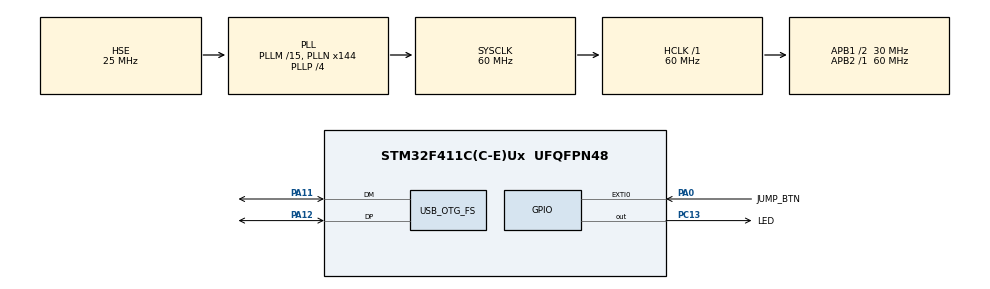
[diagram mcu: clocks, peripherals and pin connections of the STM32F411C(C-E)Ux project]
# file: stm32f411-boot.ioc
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Mcu.Family=STM32F4
Mcu.Name=STM32F411C(C-E)Ux
Mcu.Package=UFQFPN48
NVIC.EXTI0_IRQn=true\:0\:0\:false\:false\:true\:true\:true\:true
NVIC.OTG_FS_IRQn=true\:0\:0\:false\:false\:true\:false\:true\:true
NVIC.PriorityGroup=NVIC_PRIORITYGROUP_4
PA0-WKUP.GPIO_Label=JUMP_BTN
PA0-WKUP.GPIO_ModeDefaultEXTI=GPIO_MODE_IT_FALLING
PA0-WKUP.GPIO_PuPd=GPIO_PULLUP
PA0-WKUP.Signal=GPXTI0
PA11.Mode=Device_Only
PA11.Signal=USB_OTG_FS_DM
PA12.Mode=Device_Only
PA12.Signal=USB_OTG_FS_DP
PA13.Mode=Serial_Wire
PA13.Signal=SYS_JTMS-SWDIO
PA14.Mode=Serial_Wire
PA14.Signal=SYS_JTCK-SWCLK
PC13-ANTI_TAMP.GPIO_Label=LED
PC13-ANTI_TAMP.Signal=GPIO_Output
PH0\ -\ OSC_IN.Mode=HSE-External-Oscillator
PH0\ -\ OSC_IN.Signal=RCC_OSC_IN
PH1\ -\ OSC_OUT.Mode=HSE-External-Oscillator
PH1\ -\ OSC_OUT.Signal=RCC_OSC_OUT
ProjectManager.HeapSize=0x200
ProjectManager.StackSize=0x400
ProjectManager.TargetToolchain=STM32CubeIDE
RCC.48MHZClocksFreq_Value=48000000
RCC.AHBFreq_Value=60000000
RCC.APB1CLKDivider=RCC_HCLK_DIV2
RCC.APB1Freq_Value=30000000
RCC.APB1TimFreq_Value=60000000
RCC.APB2Freq_Value=60000000
RCC.APB2TimFreq_Value=60000000
RCC.CortexFreq_Value=60000000
RCC.HCLKFreq_Value=60000000
RCC.HSE_VALUE=25000000
RCC.HSI_VALUE=16000000
RCC.LSE_VALUE=32768
RCC.PLLM=15
RCC.PLLN=144
RCC.PLLP=RCC_PLLP_DIV4
RCC.PLLQ=5
RCC.RCC_RTC_Clock_Source=RCC_RTCCLKSOURCE_LSI
RCC.RCC_RTC_Clock_SourceVirtual=RCC_RTCCLKSOURCE_LSE
RCC.SYSCLKFreq_VALUE=60000000
RCC.SYSCLKSource=RCC_SYSCLKSOURCE_PLLCLK
RCC.VCOOutputFreq_Value=240000000
USB_DEVICE.CLASS_NAME_FS=DFU
USB_DEVICE.USBD_DFU_APP_DEFAULT_ADD=0x08005000
USB_DEVICE.USBD_DFU_MEDIA=@Internal Flash   /0x08000000/04*16kg,01*64kg,03*128kg
USB_DEVICE.VirtualMode=Dfu
USB_DEVICE.VirtualModeFS=Dfu_FS
USB_OTG_FS.VirtualMode=Device_Only
VP_RTC_VS_RTC_Activate.Mode=RTC_Enabled
VP_USB_DEVICE_VS_USB_DEVICE_DFU_FS.Mode=DFU_FS
board=custom

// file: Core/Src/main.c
/* USER CODE BEGIN Header */
/**
  ******************************************************************************
  * @file           : main.c
  * @brief          : Main program body
  ******************************************************************************
  * @attention
  *
  * Copyright (c) 2024 STMicroelectronics.
  * All rights reserved.
  *
  * This software is licensed under terms that can be found in the LICENSE file
  * in the root directory of this software component.
  * If no LICENSE file comes with this software, it is provided AS-IS.
  *
  ******************************************************************************
  */
/* USER CODE END Header */
#include "main.h"
#include "rtc.h"
#include "usb_device.h"
#include "gpio.h"

/* USER CODE BEGIN PTD */
typedef  void (*pFunction)(void);
/* USER CODE END PTD */

/* USER CODE BEGIN PV */
pFunction JumpToApplication;
uint32_t JumpAddress;
bool jumpFlag = false;
/* USER CODE END PV */

void SystemClock_Config(void);

/* USER CODE BEGIN 0 */
void HAL_GPIO_EXTI_Callback(uint16_t GPIO_Pin)
{
  if (GPIO_Pin == JUMP_BTN_Pin)
  {
    jumpFlag = true;
  }
}

int main(void)
{
  HAL_Init();
  SystemClock_Config();
  MX_GPIO_Init();
  MX_RTC_Init();
  MX_USB_DEVICE_Init();

  while (1)
  {
    if (jumpFlag)
    {
      if(((*(__IO uint32_t*)USBD_DFU_APP_DEFAULT_ADD) & 0x2200000C) == 0x20000000)
      {
        /* Jump to user application */
        JumpAddress = *(__IO uint32_t*) (USBD_DFU_APP_DEFAULT_ADD + 4);
        JumpToApplication = (pFunction) JumpAddress;

        /* Initialize user application's Stack Pointer */
        __set_MSP((*(__IO uint32_t*) USBD_DFU_APP_DEFAULT_ADD ));
        JumpToApplication();
      }
    }
    else
    {
      HAL_GPIO_TogglePin(LED_GPIO_Port, LED_Pin);
      HAL_Delay(100);
    }
  }
}
/* USER CODE END 0 */

void SystemClock_Config(void)
{
  RCC_OscInitTypeDef RCC_OscInitStruct = {0};
  RCC_ClkInitTypeDef RCC_ClkInitStruct = {0};

  /** Configure the main internal regulator output voltage
  */
  __HAL_RCC_PWR_CLK_ENABLE();
  __HAL_PWR_VOLTAGESCALING_CONFIG(PWR_REGULATOR_VOLTAGE_SCALE1);

  /** Initializes the RCC Oscillators according to the specified parameters
  * in the RCC_OscInitTypeDef structure.
  */
  RCC_OscInitStruct.OscillatorType = RCC_OSCILLATORTYPE_LSI|RCC_OSCILLATORTYPE_HSE;
  RCC_OscInitStruct.HSEState = RCC_HSE_ON;
  RCC_OscInitStruct.LSIState = RCC_LSI_ON;
  RCC_OscInitStruct.PLL.PLLState = RCC_PLL_ON;
  RCC_OscInitStruct.PLL.PLLSource = RCC_PLLSOURCE_HSE;
  RCC_OscInitStruct.PLL.PLLM = 15;
  RCC_OscInitStruct.PLL.PLLN = 144;
  RCC_OscInitStruct.PLL.PLLP = RCC_PLLP_DIV4;
  RCC_OscInitStruct.PLL.PLLQ = 5;
  if (HAL_RCC_OscConfig(&RCC_OscInitStruct) != HAL_OK)
  {
    Error_Handler();
  }

  /** Initializes the CPU, AHB and APB buses clocks
  */
  RCC_ClkInitStruct.ClockType = RCC_CLOCKTYPE_HCLK|RCC_CLOCKTYPE_SYSCLK
                              |RCC_CLOCKTYPE_PCLK1|RCC_CLOCKTYPE_PCLK2;
  RCC_ClkInitStruct.SYSCLKSource = RCC_SYSCLKSOURCE_PLLCLK;
  RCC_ClkInitStruct.AHBCLKDivider = RCC_SYSCLK_DIV1;
  RCC_ClkInitStruct.APB1CLKDivider = RCC_HCLK_DIV2;
  RCC_ClkInitStruct.APB2CLKDivider = RCC_HCLK_DIV1;

  if (HAL_RCC_ClockConfig(&RCC_ClkInitStruct, FLASH_LATENCY_1) != HAL_OK)
  {
    Error_Handler();
  }
}

void Error_Handler(void)
{
  /* USER CODE BEGIN Error_Handler_Debug */
  /* User can add his own implementation to report the HAL error return state */
  __disable_irq();
  while (1)
  {
    HAL_GPIO_TogglePin(LED_GPIO_Port, LED_Pin);
    HAL_Delay(100);
  }
  /* USER CODE END Error_Handler_Debug */
}
